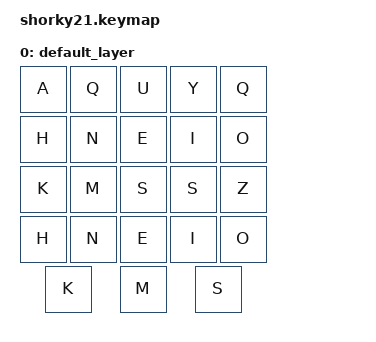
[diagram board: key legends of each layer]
#include <behaviors.dtsi>
#include <dt-bindings/zmk/keys.h>

/ {
    keymap {
        compatible = "zmk,keymap";

        default_layer { // Layer 0
            bindings = <
                &kp A    &kp Q    &kp U    &kp Y    &kp Q 
                &kp H    &kp N    &kp E    &kp I    &kp O
                &kp K    &kp M    &kp S    &kp S    &kp Z
                &kp H    &kp N    &kp E    &kp I    &kp O
                &kp K    &kp M    &kp S 
            >;
        };
    };
 };
